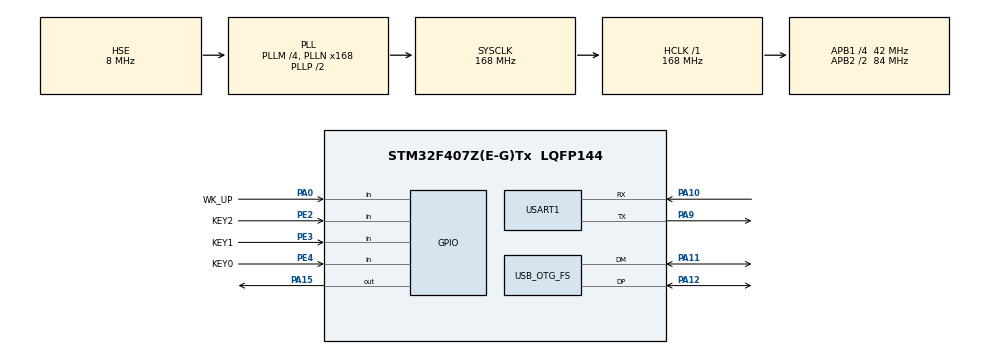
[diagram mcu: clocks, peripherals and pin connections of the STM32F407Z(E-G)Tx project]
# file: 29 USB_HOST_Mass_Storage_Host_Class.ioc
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FATFS._CODE_PAGE=936
Mcu.Family=STM32F4
Mcu.Name=STM32F407Z(E-G)Tx
Mcu.Package=LQFP144
NVIC.OTG_FS_IRQn=true\:1\:0\:true\:false\:true\:false\:true\:true
NVIC.PriorityGroup=NVIC_PRIORITYGROUP_2
PA0-WKUP.GPIO_Label=WK_UP
PA0-WKUP.GPIO_PuPd=GPIO_PULLDOWN
PA0-WKUP.Signal=GPIO_Input
PA10.Mode=Asynchronous
PA10.Signal=USART1_RX
PA11.Mode=Host_Only
PA11.Signal=USB_OTG_FS_DM
PA12.Mode=Host_Only
PA12.Signal=USB_OTG_FS_DP
PA13.Mode=Serial_Wire
PA13.Signal=SYS_JTMS-SWDIO
PA14.Mode=Serial_Wire
PA14.Signal=SYS_JTCK-SWCLK
PA15.Signal=GPIO_Output
PA9.Mode=Asynchronous
PA9.Signal=USART1_TX
PC14-OSC32_IN.Mode=LSE-External-Oscillator
PC14-OSC32_IN.Signal=RCC_OSC32_IN
PC15-OSC32_OUT.Mode=LSE-External-Oscillator
PC15-OSC32_OUT.Signal=RCC_OSC32_OUT
PE2.GPIO_Label=KEY2
PE2.GPIO_PuPd=GPIO_PULLUP
PE2.Signal=GPIO_Input
PE3.GPIO_Label=KEY1
PE3.GPIO_PuPd=GPIO_PULLUP
PE3.Signal=GPIO_Input
PE4.GPIO_Label=KEY0
PE4.GPIO_PuPd=GPIO_PULLUP
PE4.Signal=GPIO_Input
PH0-OSC_IN.Mode=HSE-External-Oscillator
PH0-OSC_IN.Signal=RCC_OSC_IN
PH1-OSC_OUT.Mode=HSE-External-Oscillator
PH1-OSC_OUT.Signal=RCC_OSC_OUT
ProjectManager.HeapSize=0x200
ProjectManager.StackSize=0x400
ProjectManager.TargetToolchain=MDK-ARM V5.32
RCC.48MHZClocksFreq_Value=48000000
RCC.AHBFreq_Value=168000000
RCC.APB1CLKDivider=RCC_HCLK_DIV4
RCC.APB1Freq_Value=42000000
RCC.APB1TimFreq_Value=84000000
RCC.APB2CLKDivider=RCC_HCLK_DIV2
RCC.APB2Freq_Value=84000000
RCC.APB2TimFreq_Value=168000000
RCC.CortexFreq_Value=168000000
RCC.HCLKFreq_Value=168000000
RCC.HSE_VALUE=8000000
RCC.HSI_VALUE=16000000
RCC.PLLM=4
RCC.PLLN=168
RCC.PLLQ=7
RCC.RCC_RTC_Clock_Source=RCC_RTCCLKSOURCE_LSE
RCC.RCC_RTC_Clock_SourceVirtual=RCC_RTCCLKSOURCE_LSE
RCC.SYSCLKFreq_VALUE=168000000
RCC.SYSCLKSource=RCC_SYSCLKSOURCE_PLLCLK
RCC.VCOOutputFreq_Value=336000000
USART1.VirtualMode=VM_ASYNC
USB_HOST.BSP.number=1
USB_HOST.USBH_HandleTypeDef-MSC_FS=hUsbHostFS
USB_HOST.VirtualModeFS=Msc
USB_HOST0.BSP.STBoard=false
USB_HOST0.BSP.api=Unknown
USB_HOST0.BSP.condition=SW_VBUS_DRIVE_MSC_FS \= false
USB_HOST0.BSP.instance=PA15
USB_HOST0.BSP.ip=GPIO
USB_HOST0.BSP.mode=Output
USB_HOST0.BSP.name=Drive_VBUS_FS
USB_HOST0.BSP.solution=PA15
USB_OTG_FS.VirtualMode=Host_Only
USB_OTG_FS.phy_itface=HCD_PHY_EMBEDDED
VP_FATFS_VS_USB.Mode=USB
VP_RTC_VS_RTC_Activate.Mode=RTC_Enabled
VP_RTC_VS_RTC_Calendar.Mode=RTC_Calendar
VP_USB_HOST_VS_USB_HOST_MSC_FS.Mode=MSC_FS
board=custom

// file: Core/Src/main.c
/* USER CODE BEGIN Header */
/**
  ******************************************************************************
  * @file           : main.c
  * @brief          : Main program body
  ******************************************************************************
  * @attention
  *
  * Copyright (c) 2024 STMicroelectronics.
  * All rights reserved.
  *
  * This software is licensed under terms that can be found in the LICENSE file
  * in the root directory of this software component.
  * If no LICENSE file comes with this software, it is provided AS-IS.
  *
  ******************************************************************************
  */
/* USER CODE END Header */
#include "main.h"
#include "fatfs.h"
#include "rtc.h"
#include "usart.h"
#include "usb_host.h"
#include "gpio.h"

/* USER CODE BEGIN Includes */
#include "stdio.h"
#include "file_operate.h"
/* USER CODE END Includes */

/* USER CODE BEGIN PTD */
#ifdef __GNUC__
#define PUTCHAR_PROTOTYPE int __io_putchar(int ch)
#else
#define PUTCHAR_PROTOTYPE int fputc(int ch, FILE *f)
#endif
PUTCHAR_PROTOTYPE
{
    HAL_UART_Transmit(&huart1, (uint8_t *)&ch, 1, HAL_MAX_DELAY);
    return ch;
}
/* USER CODE END PTD */

/* USER CODE BEGIN PD */
extern ApplicationTypeDef Appli_state;
/* USER CODE END PD */

void SystemClock_Config(void);
void MX_USB_HOST_Process(void);

int main(void)
{

  /* MCU Configuration--------------------------------------------------------*/

  /* Reset of all peripherals, Initializes the Flash interface and the Systick. */
  HAL_Init();

  /* Configure the system clock */
  SystemClock_Config();

  /* Initialize all configured peripherals */
  MX_GPIO_Init();
  MX_USART1_UART_Init();
  MX_RTC_Init();
  MX_FATFS_Init();
  MX_USB_HOST_Init();
  /* USER CODE BEGIN 2 */
	printf("Reset\r\n");
	while(1)
	{
		MX_USB_HOST_Process();
		if(Appli_state == APPLICATION_READY) break;
	}

	Mount_FatFs();
	FatFs_GetDiskInfo();
	//USBDisk_ShowInfo();
  /* USER CODE END 2 */

  /* Infinite loop */
  while (1)
  {
    MX_USB_HOST_Process();

    /* USER CODE BEGIN 3 */
		/*����WK_UP������*/
		if(HAL_GPIO_ReadPin(WK_UP_GPIO_Port,WK_UP_Pin) == GPIO_PIN_SET)
		{
			HAL_Delay(50);
			if(HAL_GPIO_ReadPin(WK_UP_GPIO_Port,WK_UP_Pin) == GPIO_PIN_SET)
			{
				FatFs_ScanDir("0:/");
				while(HAL_GPIO_ReadPin(WK_UP_GPIO_Port,WK_UP_Pin));
			}
		}

		/*����KEY2������*/
		if(HAL_GPIO_ReadPin(KEY2_GPIO_Port,KEY2_Pin) == GPIO_PIN_RESET)
		{
			HAL_Delay(50);
			if(HAL_GPIO_ReadPin(KEY2_GPIO_Port,KEY2_Pin) == GPIO_PIN_RESET)
			{
				FatFs_WriteTXTFile("test.txt",2016,11,15);
				while(!HAL_GPIO_ReadPin(KEY2_GPIO_Port,KEY2_Pin));
			}
		}

		/*����KEY1������*/
		if(HAL_GPIO_ReadPin(KEY1_GPIO_Port,KEY1_Pin) == GPIO_PIN_RESET)
		{
			HAL_Delay(50);
			if(HAL_GPIO_ReadPin(KEY1_GPIO_Port,KEY1_Pin) == GPIO_PIN_RESET)
			{
				FatFs_ReadTXTFile("test.txt");
				FatFs_GetFileInfo("test.txt");
				while(!HAL_GPIO_ReadPin(KEY1_GPIO_Port,KEY1_Pin));
			}
		}

		/*����KEY0������*/
		if(HAL_GPIO_ReadPin(KEY0_GPIO_Port,KEY0_Pin) == GPIO_PIN_RESET)
		{
			HAL_Delay(50);
			if(HAL_GPIO_ReadPin(KEY0_GPIO_Port,KEY0_Pin) == GPIO_PIN_RESET)
			{
				FatFs_DeleteFile("test.txt");
				while(!HAL_GPIO_ReadPin(KEY0_GPIO_Port,KEY0_Pin));
			}
		}
  }
  /* USER CODE END 3 */
}

void SystemClock_Config(void)
{
  RCC_OscInitTypeDef RCC_OscInitStruct = {0};
  RCC_ClkInitTypeDef RCC_ClkInitStruct = {0};

  /** Configure the main internal regulator output voltage
  */
  __HAL_RCC_PWR_CLK_ENABLE();
  __HAL_PWR_VOLTAGESCALING_CONFIG(PWR_REGULATOR_VOLTAGE_SCALE1);

  /** Initializes the RCC Oscillators according to the specified parameters
  * in the RCC_OscInitTypeDef structure.
  */
  RCC_OscInitStruct.OscillatorType = RCC_OSCILLATORTYPE_HSE|RCC_OSCILLATORTYPE_LSE;
  RCC_OscInitStruct.HSEState = RCC_HSE_ON;
  RCC_OscInitStruct.LSEState = RCC_LSE_ON;
  RCC_OscInitStruct.PLL.PLLState = RCC_PLL_ON;
  RCC_OscInitStruct.PLL.PLLSource = RCC_PLLSOURCE_HSE;
  RCC_OscInitStruct.PLL.PLLM = 4;
  RCC_OscInitStruct.PLL.PLLN = 168;
  RCC_OscInitStruct.PLL.PLLP = RCC_PLLP_DIV2;
  RCC_OscInitStruct.PLL.PLLQ = 7;
  if (HAL_RCC_OscConfig(&RCC_OscInitStruct) != HAL_OK)
  {
    Error_Handler();
  }

  /** Initializes the CPU, AHB and APB buses clocks
  */
  RCC_ClkInitStruct.ClockType = RCC_CLOCKTYPE_HCLK|RCC_CLOCKTYPE_SYSCLK
                              |RCC_CLOCKTYPE_PCLK1|RCC_CLOCKTYPE_PCLK2;
  RCC_ClkInitStruct.SYSCLKSource = RCC_SYSCLKSOURCE_PLLCLK;
  RCC_ClkInitStruct.AHBCLKDivider = RCC_SYSCLK_DIV1;
  RCC_ClkInitStruct.APB1CLKDivider = RCC_HCLK_DIV4;
  RCC_ClkInitStruct.APB2CLKDivider = RCC_HCLK_DIV2;

  if (HAL_RCC_ClockConfig(&RCC_ClkInitStruct, FLASH_LATENCY_5) != HAL_OK)
  {
    Error_Handler();
  }
}

void Error_Handler(void)
{
  __disable_irq();
  while (1)
  {
  }
}
